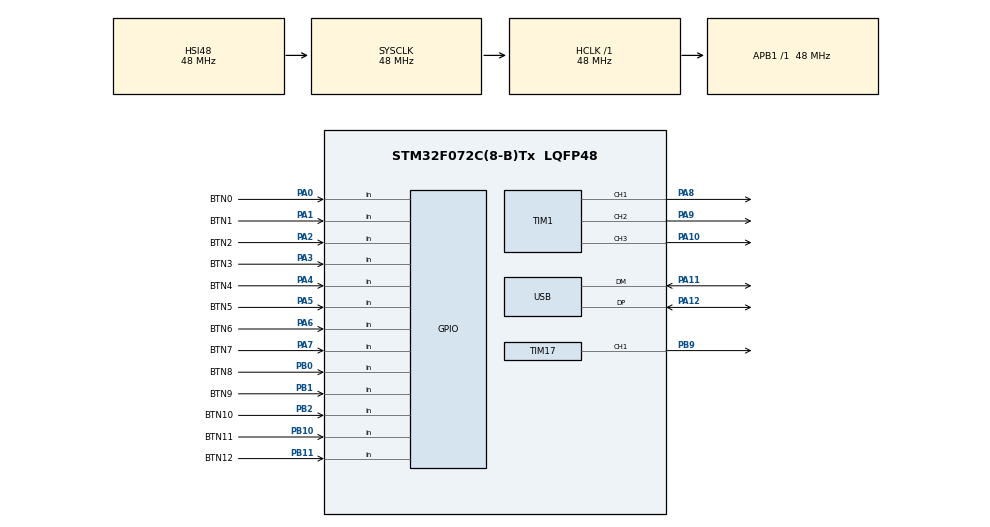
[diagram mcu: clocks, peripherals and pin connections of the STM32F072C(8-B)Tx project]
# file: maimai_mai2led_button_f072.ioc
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Dma.Request0=TIM17_CH1/UP
Dma.TIM17_CH1/UP.0.Direction=DMA_MEMORY_TO_PERIPH
Dma.TIM17_CH1/UP.0.Instance=DMA1_Channel1
Dma.TIM17_CH1/UP.0.MemDataAlignment=DMA_MDATAALIGN_BYTE
Dma.TIM17_CH1/UP.0.MemInc=DMA_MINC_ENABLE
Dma.TIM17_CH1/UP.0.Mode=DMA_NORMAL
Dma.TIM17_CH1/UP.0.PeriphDataAlignment=DMA_PDATAALIGN_HALFWORD
Dma.TIM17_CH1/UP.0.PeriphInc=DMA_PINC_DISABLE
Dma.TIM17_CH1/UP.0.Priority=DMA_PRIORITY_LOW
Mcu.Family=STM32F0
Mcu.Name=STM32F072C(8-B)Tx
Mcu.Package=LQFP48
NVIC.DMA1_Channel1_IRQn=true\:0\:0\:false\:false\:true\:false\:true\:true
NVIC.TIM7_IRQn=true\:0\:0\:false\:false\:true\:true\:true\:true
NVIC.USB_IRQn=true\:0\:0\:false\:false\:true\:true\:true\:true
NimaLTD.I-CUBE-WS28XX.3.0.1.DriverJjWS28XX=true
NimaLTD.I-CUBE-WS28XX.3.0.1.WS28XX_PIXEL_MAX=32
PA0.GPIO_Label=BTN0
PA0.GPIO_Mode=GPIO_MODE_INPUT
PA0.GPIO_PuPd=GPIO_PULLUP
PA0.Signal=GPIO_Input
PA1.GPIO_Label=BTN1
PA1.GPIO_Mode=GPIO_MODE_INPUT
PA1.GPIO_PuPd=GPIO_PULLUP
PA1.Signal=GPIO_Input
PA10.Signal=S_TIM1_CH3
PA11.Mode=Device
PA11.Signal=USB_DM
PA12.Mode=Device
PA12.Signal=USB_DP
PA13.Mode=Serial_Wire
PA13.Signal=SYS_SWDIO
PA14.Mode=Serial_Wire
PA14.Signal=SYS_SWCLK
PA2.GPIO_Label=BTN2
PA2.GPIO_Mode=GPIO_MODE_INPUT
PA2.GPIO_PuPd=GPIO_PULLUP
PA2.Signal=GPIO_Input
PA3.GPIO_Label=BTN3
PA3.GPIO_Mode=GPIO_MODE_INPUT
PA3.GPIO_PuPd=GPIO_PULLUP
PA3.Signal=GPIO_Input
PA4.GPIO_Label=BTN4
PA4.GPIO_Mode=GPIO_MODE_INPUT
PA4.GPIO_PuPd=GPIO_PULLUP
PA4.Signal=GPIO_Input
PA5.GPIO_Label=BTN5
PA5.GPIO_Mode=GPIO_MODE_INPUT
PA5.GPIO_PuPd=GPIO_PULLUP
PA5.Signal=GPIO_Input
PA6.GPIO_Label=BTN6
PA6.GPIO_Mode=GPIO_MODE_INPUT
PA6.GPIO_PuPd=GPIO_PULLUP
PA6.Signal=GPIO_Input
PA7.GPIO_Label=BTN7
PA7.GPIO_Mode=GPIO_MODE_INPUT
PA7.GPIO_PuPd=GPIO_PULLUP
PA7.Signal=GPIO_Input
PA8.Signal=S_TIM1_CH1
PA9.Signal=S_TIM1_CH2
PB0.GPIO_Label=BTN8
PB0.GPIO_Mode=GPIO_MODE_INPUT
PB0.GPIO_PuPd=GPIO_PULLUP
PB0.Signal=GPIO_Input
PB1.GPIO_Label=BTN9
PB1.GPIO_Mode=GPIO_MODE_INPUT
PB1.GPIO_PuPd=GPIO_PULLUP
PB1.Signal=GPIO_Input
PB10.GPIO_Label=BTN11
PB10.GPIO_Mode=GPIO_MODE_INPUT
PB10.GPIO_PuPd=GPIO_PULLUP
PB10.Signal=GPIO_Input
PB11.GPIO_Label=BTN12
PB11.GPIO_Mode=GPIO_MODE_INPUT
PB11.GPIO_PuPd=GPIO_PULLUP
PB11.Signal=GPIO_Input
PB2.GPIO_Label=BTN10
PB2.GPIO_Mode=GPIO_MODE_INPUT
PB2.GPIO_PuPd=GPIO_PULLUP
PB2.Signal=GPIO_Input
PB9.Signal=S_TIM17_CH1
ProjectManager.HeapSize=0x200
ProjectManager.StackSize=0x400
ProjectManager.TargetToolchain=STM32CubeIDE
RCC.AHBFreq_Value=48000000
RCC.APB1Freq_Value=48000000
RCC.APB1TimFreq_Value=48000000
RCC.HCLKFreq_Value=48000000
RCC.SYSCLKFreq_VALUE=48000000
RCC.SYSCLKSource=RCC_SYSCLKSOURCE_HSI48
SH.S_TIM17_CH1.0=TIM17_CH1,PWM Generation1 CH1
SH.S_TIM1_CH1.0=TIM1_CH1,PWM Generation1 CH1
SH.S_TIM1_CH2.0=TIM1_CH2,PWM Generation2 CH2
SH.S_TIM1_CH3.0=TIM1_CH3,PWM Generation3 CH3
TIM1.Channel-PWM\ Generation1\ CH1=TIM_CHANNEL_1
TIM1.Channel-PWM\ Generation2\ CH2=TIM_CHANNEL_2
TIM1.Channel-PWM\ Generation3\ CH3=TIM_CHANNEL_3
TIM17.Channel=TIM_CHANNEL_1
TIM7.Period=2000-1
TIM7.Prescaler=48-1
VP_NimaLTD.I-CUBE-WS28XX_VS_DriverJjWS28XX_1.0.0_3.0.1.Mode=DriverJjWS28XX
VP_TIM17_VS_ClockSourceINT.Mode=Enable_Timer
VP_TIM1_VS_ClockSourceINT.Mode=Internal
VP_TIM7_VS_ClockSourceINT.Mode=Enable_Timer
board=custom

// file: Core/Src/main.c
/* USER CODE BEGIN Header */
/**
  ******************************************************************************
  * @file           : main.c
  * @brief          : Main program body
  ******************************************************************************
  * @attention
  *
  * Copyright (c) 2026 STMicroelectronics.
  * All rights reserved.
  *
  * This software is licensed under terms that can be found in the LICENSE file
  * in the root directory of this software component.
  * If no LICENSE file comes with this software, it is provided AS-IS.
  *
  ******************************************************************************
  */
/* USER CODE END Header */
#include "main.h"
#include "dma.h"
#include "tim.h"
#include "usb.h"
#include "gpio.h"

/* USER CODE BEGIN Includes */
#include "app_buttons.h"
#include "app_config.h"
#include "app_hid_io4.h"
#include "app_hid_keyboard.h"
#include "app_mai2led.h"
#include "tusb.h"
/* USER CODE END Includes */

void SystemClock_Config(void);

int main(void)
{

  /* MCU Configuration--------------------------------------------------------*/

  /* Reset of all peripherals, Initializes the Flash interface and the Systick. */
  HAL_Init();

  /* Configure the system clock */
  SystemClock_Config();

  /* Initialize all configured peripherals */
  MX_GPIO_Init();
  MX_DMA_Init();
  MX_TIM17_Init();
  MX_USB_PCD_Init();
  MX_TIM7_Init();
  MX_TIM1_Init();
  /* USER CODE BEGIN 2 */
  (void)AppConfig_Init();
  AppButtons_Init();
  AppHidIo4_Init();
  AppHidKeyboard_Init(AppConfig_GetKeycodes());
  if (!AppMai2Led_Init())
  {
    Error_Handler();
  }

  tusb_rhport_init_t const usb_init =
  {
    .role = TUSB_ROLE_DEVICE,
    .speed = TUSB_SPEED_FULL
  };
  if (!tusb_init(0, &usb_init))
  {
    Error_Handler();
  }
  if (HAL_TIM_Base_Start_IT(&htim7) != HAL_OK)
  {
    Error_Handler();
  }
  /* USER CODE END 2 */

  /* Infinite loop */
  while (1)
  {

    /* USER CODE BEGIN 3 */
    tud_task();
    AppButtons_Task();
    AppHidIo4_Task();
    AppHidKeyboard_Task();
    AppMai2Led_Task();
  }
  /* USER CODE END 3 */
}

void SystemClock_Config(void)
{
  RCC_OscInitTypeDef RCC_OscInitStruct = {0};
  RCC_ClkInitTypeDef RCC_ClkInitStruct = {0};
  RCC_PeriphCLKInitTypeDef PeriphClkInit = {0};

  /** Initializes the RCC Oscillators according to the specified parameters
  * in the RCC_OscInitTypeDef structure.
  */
  RCC_OscInitStruct.OscillatorType = RCC_OSCILLATORTYPE_HSI48;
  RCC_OscInitStruct.HSI48State = RCC_HSI48_ON;
  RCC_OscInitStruct.PLL.PLLState = RCC_PLL_NONE;
  if (HAL_RCC_OscConfig(&RCC_OscInitStruct) != HAL_OK)
  {
    Error_Handler();
  }

  /** Initializes the CPU, AHB and APB buses clocks
  */
  RCC_ClkInitStruct.ClockType = RCC_CLOCKTYPE_HCLK|RCC_CLOCKTYPE_SYSCLK
                              |RCC_CLOCKTYPE_PCLK1;
  RCC_ClkInitStruct.SYSCLKSource = RCC_SYSCLKSOURCE_HSI48;
  RCC_ClkInitStruct.AHBCLKDivider = RCC_SYSCLK_DIV1;
  RCC_ClkInitStruct.APB1CLKDivider = RCC_HCLK_DIV1;

  if (HAL_RCC_ClockConfig(&RCC_ClkInitStruct, FLASH_LATENCY_1) != HAL_OK)
  {
    Error_Handler();
  }
  PeriphClkInit.PeriphClockSelection = RCC_PERIPHCLK_USB;
  PeriphClkInit.UsbClockSelection = RCC_USBCLKSOURCE_HSI48;

  if (HAL_RCCEx_PeriphCLKConfig(&PeriphClkInit) != HAL_OK)
  {
    Error_Handler();
  }
}

void Error_Handler(void)
{
  __disable_irq();
  while (1)
  {
  }
}
